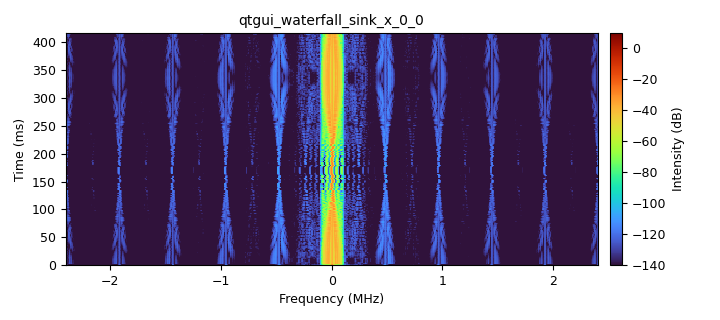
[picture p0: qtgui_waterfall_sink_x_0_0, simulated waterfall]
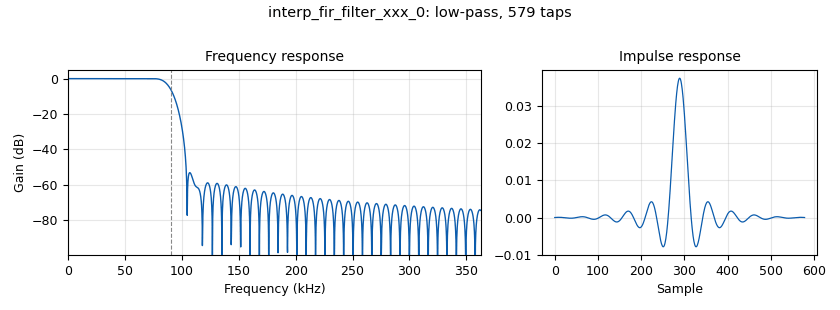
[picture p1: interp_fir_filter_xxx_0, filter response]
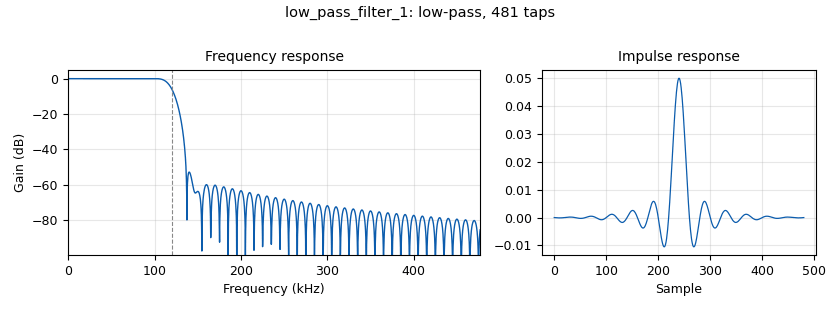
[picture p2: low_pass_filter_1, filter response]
options:
  parameters:
    author: user
    generate_options: qt_gui
    id: interference_generator
    output_language: python
    title: Not titled yet
  states: {}

blocks:
- name: audio_rate
  id: variable
  parameters:
    value: '48000'
  states: {}
- name: if_gain
  id: variable_qtgui_range
  parameters:
    start: '0'
    step: '1'
    stop: '47'
    value: '0'
  states: {}
- name: lpf_taps
  id: variable_low_pass_filter_taps
  parameters:
    cutoff_freq: 180e3/2
    gain: '1.0'
    samp_rate: samp_rate
    width: 20e3
    win: window.WIN_HAMMING
  states: {}
- name: noise_amp
  id: variable_qtgui_range
  parameters:
    start: '0'
    step: '.1'
    stop: '2'
    value: '0'
  states: {}
- name: noise_off
  id: variable_qtgui_range
  parameters:
    start: '-samp_rate/2'
    step: samp_rate/200
    stop: samp_rate/2
    value: '-samp_rate/2'
  states: {}
- name: noise_width
  id: variable_qtgui_range
  parameters:
    start: samp_rate/20
    step: samp_rate/200
    stop: samp_rate/2
    value: samp_rate/20
  states: {}
- name: rf_gain
  id: variable_qtgui_range
  parameters:
    start: '0'
    step: '14'
    stop: '14'
    value: '0'
  states: {}
- name: samp_rate
  id: variable
  parameters:
    value: 48000*100
  states: {}
- name: analog_noise_source_x_0
  id: analog_noise_source_x
  parameters:
    amp: noise_amp
    noise_type: analog.GR_GAUSSIAN
    seed: '0'
    type: complex
  states: {}
- name: analog_sig_source_x_0
  id: analog_sig_source_x
  parameters:
    amp: '1'
    freq: noise_off
    offset: '0'
    phase: '0'
    samp_rate: samp_rate
    type: complex
    waveform: analog.GR_COS_WAVE
  states: {}
- name: analog_sig_source_x_0_0
  id: analog_sig_source_x
  parameters:
    amp: '5000'
    freq: '3'
    offset: '0'
    phase: '0'
    samp_rate: audio_rate
    type: float
    waveform: analog.GR_COS_WAVE
  states: {}
- name: analog_wfm_tx_0
  id: analog_wfm_tx
  parameters:
    audio_rate: audio_rate
    fh: '-1.0'
    max_dev: 75e3
    quad_rate: audio_rate*10
    tau: '75e-6'
  states: {}
- name: blocks_add_const_vxx_0
  id: blocks_add_const_vxx
  parameters:
    const: 5e3
    type: float
  states: {}
- name: blocks_add_xx_0
  id: blocks_add_xx
  parameters:
    type: complex
  states: {}
- name: blocks_multiply_xx_0
  id: blocks_multiply_xx
  parameters:
    type: complex
  states: {}
- name: blocks_throttle2_0
  id: blocks_throttle2
  parameters:
    samples_per_second: audio_rate
    type: float
  states: {state: disabled}
- name: blocks_vco_f_0
  id: blocks_vco_f
  parameters:
    amplitude: '.1'
    samp_rate: audio_rate
    sensitivity: '10'
  states: {}
- name: interp_fir_filter_xxx_0
  id: interp_fir_filter_xxx
  parameters:
    interp: int(samp_rate/(audio_rate*10))
    taps: lpf_taps
    type: ccc
  states: {}
- name: low_pass_filter_1
  id: low_pass_filter
  parameters:
    cutoff_freq: noise_width/2
    decim: '1'
    gain: '1'
    samp_rate: samp_rate
    type: fir_filter_ccf
    width: noise_width/10
    win: window.WIN_HAMMING
  states: {}
- name: osmosdr_sink_0
  id: osmosdr_sink
  parameters:
    args: hackrf=0
    bb_gain0: '0'
    freq0: 100e6
    gain0: rf_gain
    if_gain0: if_gain
    sample_rate: samp_rate
    sync: sync
    type: fc32
  states: {}
- name: qtgui_waterfall_sink_x_0_0
  id: qtgui_waterfall_sink_x
  parameters:
    bw: audio_rate*100
    fc: '0'
    fftsize: '1024'
    type: complex
  states: {}

connections:
- [analog_noise_source_x_0, '0', low_pass_filter_1, '0']
- [analog_sig_source_x_0, '0', blocks_multiply_xx_0, '1']
- [analog_sig_source_x_0_0, '0', blocks_add_const_vxx_0, '0']
- [analog_sig_source_x_0_0, '0', blocks_throttle2_0, '0']
- [analog_wfm_tx_0, '0', interp_fir_filter_xxx_0, '0']
- [blocks_add_const_vxx_0, '0', blocks_vco_f_0, '0']
- [blocks_add_xx_0, '0', osmosdr_sink_0, '0']
- [blocks_add_xx_0, '0', qtgui_waterfall_sink_x_0_0, '0']
- [blocks_multiply_xx_0, '0', blocks_add_xx_0, '1']
- [blocks_throttle2_0, '0', blocks_add_const_vxx_0, '0']
- [blocks_vco_f_0, '0', analog_wfm_tx_0, '0']
- [interp_fir_filter_xxx_0, '0', blocks_add_xx_0, '0']
- [low_pass_filter_1, '0', blocks_multiply_xx_0, '0']

metadata:
  file_format: 1
  grc_version: 3.10.9.2
